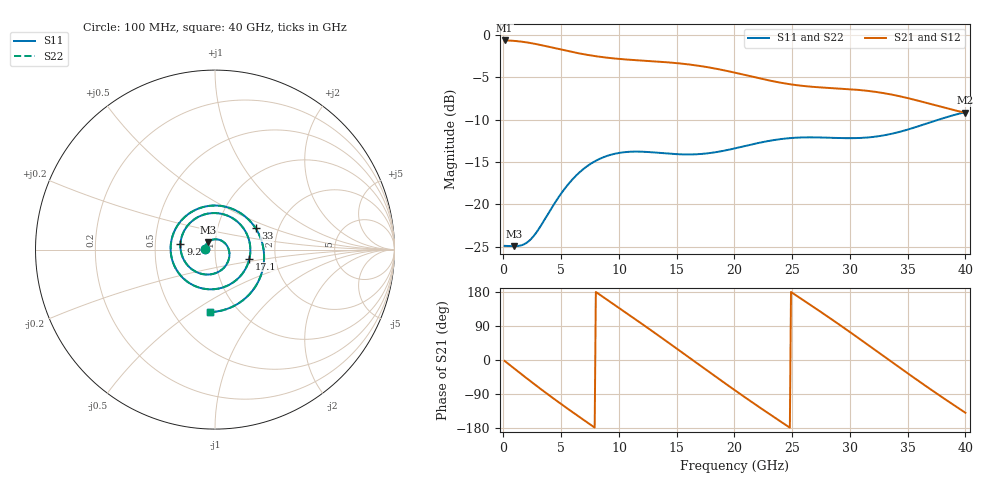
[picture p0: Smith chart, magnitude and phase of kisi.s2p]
! D_s8_stitch_5p0: L1 (ref L2) → L8 (ref L7), one GND via at 5 mm
! stackup: 8-layer 1.6 mm FR-4 (generic)
! ports: 1, 2
! kisi-fdtd, conformal, dfine 0.035 mm, 904995 cells
# Hz S RI R 50
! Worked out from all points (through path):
!   400 points, 100 MHz to 40 GHz, reference 50 ohm
!   highest |S21| = -0.66 dB at 100 MHz (marker M1); lowest = -9.2 dB at 40 GHz (marker M2)
!   group delay of S21, straight-line fit = 59.2 ps
!   lowest |S11| = -24.9 dB at 900 MHz (marker M3), VSWR 1.12, Z = 46.2 + j3.89 ohm
!   |S11| at or under -10 dB: start of sweep to 37.7 GHz
!   |S22| runs from -24.9 to -9.1 dB; largest |S21 - S12| = 1.4e-07
!   S11 on the Smith chart (normalised r, x): 100 MHz: 0.89, +0.01; 9.2 GHz: 0.68, +0.05; 17.1 GHz: 1.46, -0.15; 33 GHz: 1.52, +0.39; 40 GHz: 0.74, -0.59
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1e8  -0.0566 0.00521  0.9259 -0.0391  0.9259 -0.0391  -0.0566 0.00521
9e8  -0.0379 0.042  0.8563 -0.3409  0.8563 -0.3409  -0.0379 0.042
2.3e9  0.0363 0.0497  0.5137 -0.734  0.5137 -0.734  0.0363 0.0497
3.6e9  0.08 -0.0175  0.0743 -0.8568  0.0743 -0.8568  0.08 -0.0175
5e9  0.0433 -0.1074  -0.3625 -0.7337  -0.3625 -0.7337  0.0433 -0.1074
6.8e9  -0.091 -0.1303  -0.7 -0.325  -0.7 -0.325  -0.091 -0.1303
9.2e9  -0.1925 0.0323  -0.6585 0.3159  -0.6585 0.3159  -0.1925 0.0323
1.14e10  -0.0891 0.1842  -0.2187 0.6746  -0.2187 0.6746  -0.0891 0.1842
1.34e10  0.0753 0.1868  0.2931 0.6301  0.2931 0.6301  0.0753 0.1868
1.53e10  0.1795 0.0817  0.621 0.2716  0.621 0.2716  0.1795 0.0817
1.71e10  0.1917 -0.05  0.6288 -0.1793  0.6288 -0.1793  0.1917 -0.05
1.87e10  0.1381 -0.1511  0.3943 -0.4856  0.3943 -0.4856  0.1381 -0.1511
2.01e10  0.0536 -0.2074  0.0917 -0.5899  0.0917 -0.5899  0.0536 -0.2074
2.16e10  -0.0591 -0.2185  -0.2203 -0.5207  -0.2203 -0.5207  -0.0591 -0.2185
2.35e10  -0.1914 -0.1446  -0.4684 -0.2475  -0.4684 -0.2475  -0.1914 -0.1446
2.51e10  -0.2458 -0.0203  -0.5061 0.0407  -0.5061 0.0407  -0.2458 -0.0203
2.67e10  -0.2194 0.1166  -0.394 0.2978  -0.394 0.2978  -0.2194 0.1166
2.97e10  -0.0045 0.2456  0.0812 0.4723  0.0812 0.4723  -0.0045 0.2456
3.3e10  0.2257 0.12  0.4471 0.0669  0.4471 0.0669  0.2257 0.12
3.34e10  0.242 0.0917  0.447 -0.00191  0.447 -0.00191  0.242 0.0917
3.66e10  0.2437 -0.1731  0.1405 -0.3714  0.1405 -0.3714  0.2437 -0.1731
4e10  -0.0291 -0.3485  -0.2627 -0.2267  -0.2627 -0.2267  -0.0291 -0.3485
